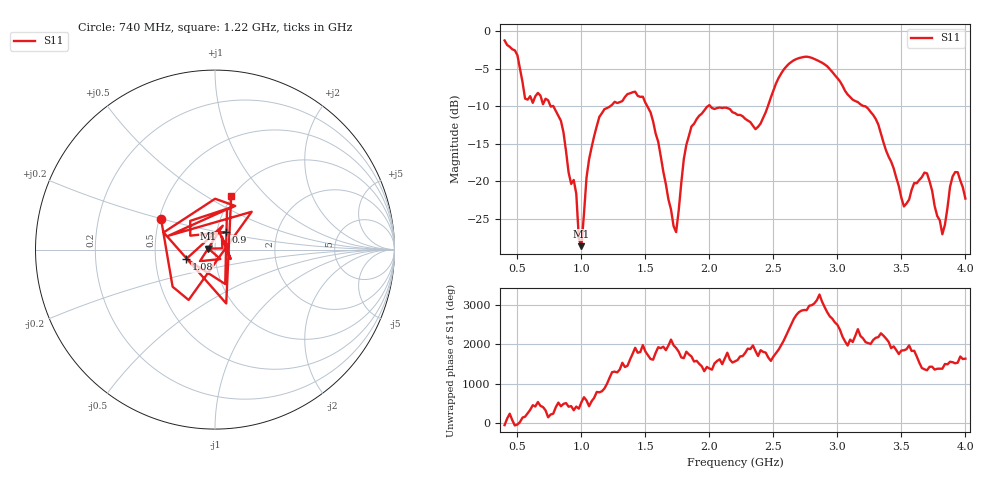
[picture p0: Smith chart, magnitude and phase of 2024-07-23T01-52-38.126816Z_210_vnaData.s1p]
!Created with skrf (http://scikit-rf.org).
# Hz S RI R 50.0
!freq ReS11 ImS11
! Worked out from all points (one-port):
!   181 points, 400 MHz to 4 GHz, reference 50 ohm
!   lowest |S11| = -28.6 dB at 1 GHz (marker M1), VSWR 1.08, Z = 46.5 + j0.515 ohm
!   |S11| at or under -10 dB: 780.4 MHz to 1.226 GHz (445.9 MHz wide, 44.4 % of centre); 1.514 GHz to 1.989 GHz (475.4 MHz wide, 27.1 % of centre); 3.208 GHz to end of sweep (the widest 3 of 5)
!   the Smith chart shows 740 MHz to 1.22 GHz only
!   S11 on the Smith chart (normalised r, x): 740 MHz: 0.51, +0.20; 900 MHz: 1.10, +0.22; 1.08 GHz: 0.72, -0.08; 1.22 GHz: 0.98, +0.65
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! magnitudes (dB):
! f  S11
! 400 MHz  -1.3
! 500 MHz  -3.2
! 560 MHz  -9.0
! 740 MHz  -9.2
! 860 MHz  -13.5
! 900 MHz  -18.8
! 960 MHz  -21.7
! 1 GHz  -28.6
! 1.04 GHz  -19.5
! 1.08 GHz  -15.5
! 1.22 GHz  -10.1
! 1.3 GHz  -9.5
! 1.48 GHz  -8.8
! 1.6 GHz  -14.7
! 1.72 GHz  -26.0
! 1.76 GHz  -23.9
! 1.86 GHz  -12.7
! 2.2 GHz  -10.9
! 2.36 GHz  -13.1
! 2.66 GHz  -3.9
! 3.1 GHz  -8.8
! 3.3 GHz  -11.7
! 3.52 GHz  -23.4
! 3.56 GHz  -22.5
! 3.7 GHz  -19.0
! 3.82 GHz  -27.1
! 3.92 GHz  -18.8
! 4 GHz  -22.3
